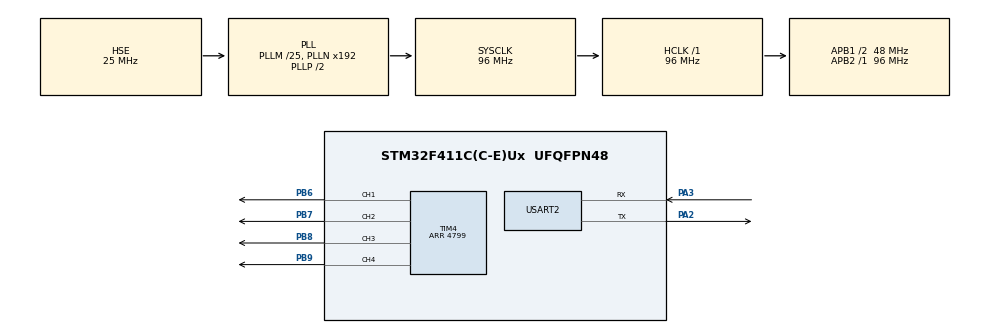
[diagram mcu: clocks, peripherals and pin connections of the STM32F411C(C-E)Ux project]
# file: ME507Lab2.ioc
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Mcu.Family=STM32F4
Mcu.Name=STM32F411C(C-E)Ux
Mcu.Package=UFQFPN48
NVIC.PriorityGroup=NVIC_PRIORITYGROUP_4
PA13.Mode=Trace_Asynchronous_SW
PA13.Signal=SYS_JTMS-SWDIO
PA14.Mode=Trace_Asynchronous_SW
PA14.Signal=SYS_JTCK-SWCLK
PA2.Mode=Asynchronous
PA2.Signal=USART2_TX
PA3.Mode=Asynchronous
PA3.Signal=USART2_RX
PB3.Mode=Trace_Asynchronous_SW
PB3.Signal=SYS_JTDO-SWO
PB6.Signal=S_TIM4_CH1
PB7.Signal=S_TIM4_CH2
PB8.Signal=S_TIM4_CH3
PB9.Signal=S_TIM4_CH4
PH0\ -\ OSC_IN.Mode=HSE-External-Oscillator
PH0\ -\ OSC_IN.Signal=RCC_OSC_IN
PH1\ -\ OSC_OUT.Mode=HSE-External-Oscillator
PH1\ -\ OSC_OUT.Signal=RCC_OSC_OUT
ProjectManager.HeapSize=0x200
ProjectManager.StackSize=0x400
ProjectManager.TargetToolchain=STM32CubeIDE
RCC.48MHZClocksFreq_Value=48000000
RCC.AHBFreq_Value=96000000
RCC.APB1CLKDivider=RCC_HCLK_DIV2
RCC.APB1Freq_Value=48000000
RCC.APB1TimFreq_Value=96000000
RCC.APB2Freq_Value=96000000
RCC.APB2TimFreq_Value=96000000
RCC.CortexFreq_Value=96000000
RCC.HCLKFreq_Value=96000000
RCC.HSE_VALUE=25000000
RCC.HSI_VALUE=16000000
RCC.LSE_VALUE=32768
RCC.PLLM=25
RCC.PLLSourceVirtual=RCC_PLLSOURCE_HSE
RCC.SYSCLKFreq_VALUE=96000000
RCC.SYSCLKSource=RCC_SYSCLKSOURCE_PLLCLK
RCC.VCOOutputFreq_Value=192000000
SH.S_TIM4_CH1.0=TIM4_CH1,PWM Generation1 CH1
SH.S_TIM4_CH2.0=TIM4_CH2,PWM Generation2 CH2
SH.S_TIM4_CH3.0=TIM4_CH3,PWM Generation3 CH3
SH.S_TIM4_CH4.0=TIM4_CH4,PWM Generation4 CH4
TIM4.Channel-PWM\ Generation1\ CH1=TIM_CHANNEL_1
TIM4.Channel-PWM\ Generation2\ CH2=TIM_CHANNEL_2
TIM4.Channel-PWM\ Generation3\ CH3=TIM_CHANNEL_3
TIM4.Channel-PWM\ Generation4\ CH4=TIM_CHANNEL_4
TIM4.Period=4799
USART2.VirtualMode=VM_ASYNC
board=custom

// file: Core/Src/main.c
/* USER CODE BEGIN Header */
/**
 ******************************************************************************
 * @file           : main.c
 * @brief          : Main program body
 ******************************************************************************
 * @attention
 *
 * Copyright (c) 2026 STMicroelectronics.
 * All rights reserved.
 *
 * This software is licensed under terms that can be found in the LICENSE file
 * in the root directory of this software component.
 * If no LICENSE file comes with this software, it is provided AS-IS.
 *
 ******************************************************************************
 */
/* USER CODE END Header */
#include "main.h"

/* USER CODE BEGIN Includes */
#include "motor_driver.h"
#include <stdbool.h>
#include <stdint.h>
#include <stdio.h>
#include <string.h>

/* USER CODE END Includes */

TIM_HandleTypeDef htim4;

UART_HandleTypeDef huart2;

/* USER CODE BEGIN PV */
uint8_t state = 0;
char buffer[1];
uint8_t cmd_index = 0;
char cmd[7] = "";
int8_t cmd_vel;
int8_t velocity1 = 50;
int8_t velocity2 = 50;

char print_buf[100];
uint8_t print_buf_len;
/* USER CODE END PV */

void SystemClock_Config(void);
static void MX_GPIO_Init(void);
static void MX_USART2_UART_Init(void);
static void MX_TIM4_Init(void);
/* USER CODE BEGIN PFP */
int hex_char_to_int(char c);
int hex2_to_int(char high, char low, int8_t* result);
void print_char(char c);
void print_str(char* str);
void print_str_w_r(char* str, uint8_t str_len);
/* USER CODE END PFP */

int main(void) {

  /* MCU Configuration--------------------------------------------------------*/

  /* Reset of all peripherals, Initializes the Flash interface and the Systick.
   */
  HAL_Init();

  /* Configure the system clock */
  SystemClock_Config();

  /* Initialize all configured peripherals */
  MX_GPIO_Init();
  MX_USART2_UART_Init();
  MX_TIM4_Init();
  /* USER CODE BEGIN 2 */
  HAL_TIM_PWM_Start_IT(&htim4, TIM_CHANNEL_1);
  HAL_TIM_PWM_Start_IT(&htim4, TIM_CHANNEL_2);
  HAL_TIM_PWM_Start_IT(&htim4, TIM_CHANNEL_3);
  HAL_TIM_PWM_Start_IT(&htim4, TIM_CHANNEL_4);
  /* USER CODE END 2 */

  /* Infinite loop */
  /* USER CODE BEGIN WHILE */
  while (1) {
    switch (state) {
      case 0: // Init
        motor_driver_t motor_driver1;
        motor_driver_t motor_driver2;
        motor_driver_init(&motor_driver1, &htim4, TIM_CHANNEL_1, TIM_CHANNEL_2, false, 0);
        motor_driver_init(&motor_driver2, &htim4, TIM_CHANNEL_3, TIM_CHANNEL_4, false, 0);
        state = 1;
        break;
      case 1: // Waiting for user input
        HAL_UART_Receive(&huart2, (uint8_t*)buffer, 1, 100);
        if (buffer[0] == '\0') {
          // no input received, just continue waiting
          break;
        }
        if ((buffer[0] == '\b' || buffer[0] == 0x7F) && cmd_index > 0) { // backspace or delete
          buffer[0] = '\0';
          cmd_index--;
          cmd[cmd_index] = 0x20;
          print_str_w_r(cmd, cmd_index);
          cmd[cmd_index] = '\0';
          print_str_w_r(cmd, cmd_index);
          break;
        }
        switch (cmd_index) {
          case 0:
            if (buffer[0] == 'M') {
              cmd[cmd_index] = buffer[0];
              cmd_index++;
              print_str_w_r(cmd, cmd_index);
            }
            break;
          case 1:
            if (buffer[0] == '1' || buffer[0] == '2') {
              cmd[cmd_index] = buffer[0];
              cmd_index++;
              print_str_w_r(cmd, cmd_index);
            }
            break;
          case 2:
          case 3:
            if ((buffer[0] >= '0' && buffer[0] <= '9') || (buffer[0] >= 'A' && buffer[0] <= 'F') ||
                (buffer[0] >= 'a' && buffer[0] <= 'f')) {
              cmd[cmd_index] = buffer[0];
              cmd_index++;
              print_str_w_r(cmd, cmd_index);
            }
            break;
          case 4:
            if (buffer[0] == '\r' || buffer[0] == '\n') {
              cmd[4] = '\r';
              cmd[5] = '\n';
              cmd_index = 6;
              state = 2;
              print_str_w_r(cmd, cmd_index);
            }
            break;
          default:
            // invalid case for cmd_index do nothing
            break;
        }
        buffer[0] = '\0'; // reset buffer to null after processing input
        break;
      case 2: // decode input cmd
        if (hex2_to_int(cmd[2], cmd[3], &cmd_vel) == 0) { // successful conversion
          // cmd_vel is good
          // decode input cmd
          if (cmd[0] == 'M') {
            if (cmd[1] == '1') {
              if (cmd_vel == -128) {
                // if cmd is 0x80 brake motor_driver1 (0x00 is coast mode by default)
                print_str("Braking Motor 1\n\r");
                motor_driver_disable(&motor_driver1);
              } else {
                // update motor_driver1 duty cycle
                motor_driver_set_velocity(&motor_driver1, cmd_vel);
                print_str("Motor 1 Velocity: ");
                sprintf(print_buf, "%d\n\r", cmd_vel);
                print_str(print_buf);
                print_str("Motor 1 Enabled\n\r\n");
                motor_driver_enable(&motor_driver1);
              }
            } else if (cmd[1] == '2') {
              if (cmd_vel == -128) {
                // if cmd is 0x80 brake motor_driver2 (0x00 is coast mode by default)
                print_str("Braking Motor 2\n\r");
                motor_driver_disable(&motor_driver2);
              } else {
                // update motor_driver2 duty cycle
                motor_driver_set_velocity(&motor_driver2, cmd_vel);
                print_str("Motor 2 Velocity: ");
                sprintf(print_buf, "%d\n\r", cmd_vel);
                print_str(print_buf);
                print_str("Motor 2 Enabled\n\r\n");
                motor_driver_enable(&motor_driver2);
              }
            }
          }
        } else {
          // cmd_vel is bad
          // print error message (should never run)
          print_buf_len = snprintf(print_buf, 100, "Invalid velocity value\n\r");
          HAL_UART_Transmit(&huart2, (uint8_t*)print_buf, print_buf_len, 100);
        }
        // prevous cmd processed, reset back to waiting for inputs
        memset(cmd, '\0', sizeof(cmd)); // reset cmd
        cmd_index = 0; // reset cmd_index
        state = 1; // return to waiting for inputs
        break;
    }
    /* USER CODE END WHILE */

  }
}

void SystemClock_Config(void) {
  RCC_OscInitTypeDef RCC_OscInitStruct = {0};
  RCC_ClkInitTypeDef RCC_ClkInitStruct = {0};

  /** Configure the main internal regulator output voltage
   */
  __HAL_RCC_PWR_CLK_ENABLE();
  __HAL_PWR_VOLTAGESCALING_CONFIG(PWR_REGULATOR_VOLTAGE_SCALE1);

  /** Initializes the RCC Oscillators according to the specified parameters
   * in the RCC_OscInitTypeDef structure.
   */
  RCC_OscInitStruct.OscillatorType = RCC_OSCILLATORTYPE_HSE;
  RCC_OscInitStruct.HSEState = RCC_HSE_ON;
  RCC_OscInitStruct.PLL.PLLState = RCC_PLL_ON;
  RCC_OscInitStruct.PLL.PLLSource = RCC_PLLSOURCE_HSE;
  RCC_OscInitStruct.PLL.PLLM = 25;
  RCC_OscInitStruct.PLL.PLLN = 192;
  RCC_OscInitStruct.PLL.PLLP = RCC_PLLP_DIV2;
  RCC_OscInitStruct.PLL.PLLQ = 4;
  if (HAL_RCC_OscConfig(&RCC_OscInitStruct) != HAL_OK) {
    Error_Handler();
  }

  /** Initializes the CPU, AHB and APB buses clocks
   */
  RCC_ClkInitStruct.ClockType = RCC_CLOCKTYPE_HCLK | RCC_CLOCKTYPE_SYSCLK | RCC_CLOCKTYPE_PCLK1 | RCC_CLOCKTYPE_PCLK2;
  RCC_ClkInitStruct.SYSCLKSource = RCC_SYSCLKSOURCE_PLLCLK;
  RCC_ClkInitStruct.AHBCLKDivider = RCC_SYSCLK_DIV1;
  RCC_ClkInitStruct.APB1CLKDivider = RCC_HCLK_DIV2;
  RCC_ClkInitStruct.APB2CLKDivider = RCC_HCLK_DIV1;

  if (HAL_RCC_ClockConfig(&RCC_ClkInitStruct, FLASH_LATENCY_3) != HAL_OK) {
    Error_Handler();
  }
}

static void MX_TIM4_Init(void) {

  TIM_MasterConfigTypeDef sMasterConfig = {0};
  TIM_OC_InitTypeDef sConfigOC = {0};

  htim4.Instance = TIM4;
  htim4.Init.Prescaler = 0;
  htim4.Init.CounterMode = TIM_COUNTERMODE_UP;
  htim4.Init.Period = 4799;
  htim4.Init.ClockDivision = TIM_CLOCKDIVISION_DIV1;
  htim4.Init.AutoReloadPreload = TIM_AUTORELOAD_PRELOAD_DISABLE;
  if (HAL_TIM_PWM_Init(&htim4) != HAL_OK) {
    Error_Handler();
  }
  sMasterConfig.MasterOutputTrigger = TIM_TRGO_RESET;
  sMasterConfig.MasterSlaveMode = TIM_MASTERSLAVEMODE_DISABLE;
  if (HAL_TIMEx_MasterConfigSynchronization(&htim4, &sMasterConfig) != HAL_OK) {
    Error_Handler();
  }
  sConfigOC.OCMode = TIM_OCMODE_PWM1;
  sConfigOC.Pulse = 0;
  sConfigOC.OCPolarity = TIM_OCPOLARITY_HIGH;
  sConfigOC.OCFastMode = TIM_OCFAST_DISABLE;
  if (HAL_TIM_PWM_ConfigChannel(&htim4, &sConfigOC, TIM_CHANNEL_1) != HAL_OK) {
    Error_Handler();
  }
  if (HAL_TIM_PWM_ConfigChannel(&htim4, &sConfigOC, TIM_CHANNEL_2) != HAL_OK) {
    Error_Handler();
  }
  if (HAL_TIM_PWM_ConfigChannel(&htim4, &sConfigOC, TIM_CHANNEL_3) != HAL_OK) {
    Error_Handler();
  }
  if (HAL_TIM_PWM_ConfigChannel(&htim4, &sConfigOC, TIM_CHANNEL_4) != HAL_OK) {
    Error_Handler();
  }
  HAL_TIM_MspPostInit(&htim4);
}

static void MX_USART2_UART_Init(void) {

  huart2.Instance = USART2;
  huart2.Init.BaudRate = 115200;
  huart2.Init.WordLength = UART_WORDLENGTH_8B;
  huart2.Init.StopBits = UART_STOPBITS_1;
  huart2.Init.Parity = UART_PARITY_NONE;
  huart2.Init.Mode = UART_MODE_TX_RX;
  huart2.Init.HwFlowCtl = UART_HWCONTROL_NONE;
  huart2.Init.OverSampling = UART_OVERSAMPLING_16;
  if (HAL_UART_Init(&huart2) != HAL_OK) {
    Error_Handler();
  }
}

static void MX_GPIO_Init(void) {

  /* GPIO Ports Clock Enable */
  __HAL_RCC_GPIOH_CLK_ENABLE();
  __HAL_RCC_GPIOA_CLK_ENABLE();
  __HAL_RCC_GPIOB_CLK_ENABLE();

}

/* USER CODE BEGIN 4 */
int hex_char_to_int(char c) {
  if ('0' <= c && c <= '9')
    return c - '0';
  if ('a' <= c && c <= 'f')
    return c - 'a' + 10;
  if ('A' <= c && c <= 'F')
    return c - 'A' + 10;
  return -1; // invalid character
}

int hex2_to_int(char high, char low, int8_t* result) {
  int8_t hi = hex_char_to_int(high);
  int8_t lo = hex_char_to_int(low);

  if (hi < 0 || lo < 0) {
    return -1; // error
  }

  *result = (hi << 4) | lo;
  return 0; // success
}
void print_char(char c) {
  print_buf_len = snprintf(print_buf, 100, "%c", c);
  HAL_UART_Transmit(&huart2, (uint8_t*)print_buf, print_buf_len, 100);
}

void print_str(char* str) {
  print_buf_len = snprintf(print_buf, 100, "%s", str);
  HAL_UART_Transmit(&huart2, (uint8_t*)print_buf, print_buf_len, 100);
}

void print_str_w_r(char* str, uint8_t str_len) {
  print_char('\r');
  print_buf_len = snprintf(print_buf, 100, "%.*s", 6, str);
  HAL_UART_Transmit(&huart2, (uint8_t*)print_buf, print_buf_len, 100);
}

/* USER CODE END 4 */

void Error_Handler(void) {
  __disable_irq();
  while (1) {
  }
}
#ifdef USE_FULL_ASSERT
/**
 * @brief  Reports the name of the source file and the source line number
 *         where the assert_param error has occurred.
 * @param  file: pointer to the source file name
 * @param  line: assert_param error line source number
 * @retval None
 */
void assert_failed(uint8_t* file, uint32_t line) {
  /* USER CODE BEGIN 6 */
  /* User can add his own implementation to report the file name and line
     number, ex: printf("Wrong parameters value: file %s on line %d\r\n", file,
     line) */
  /* USER CODE END 6 */
}
#endif /* USE_FULL_ASSERT */
